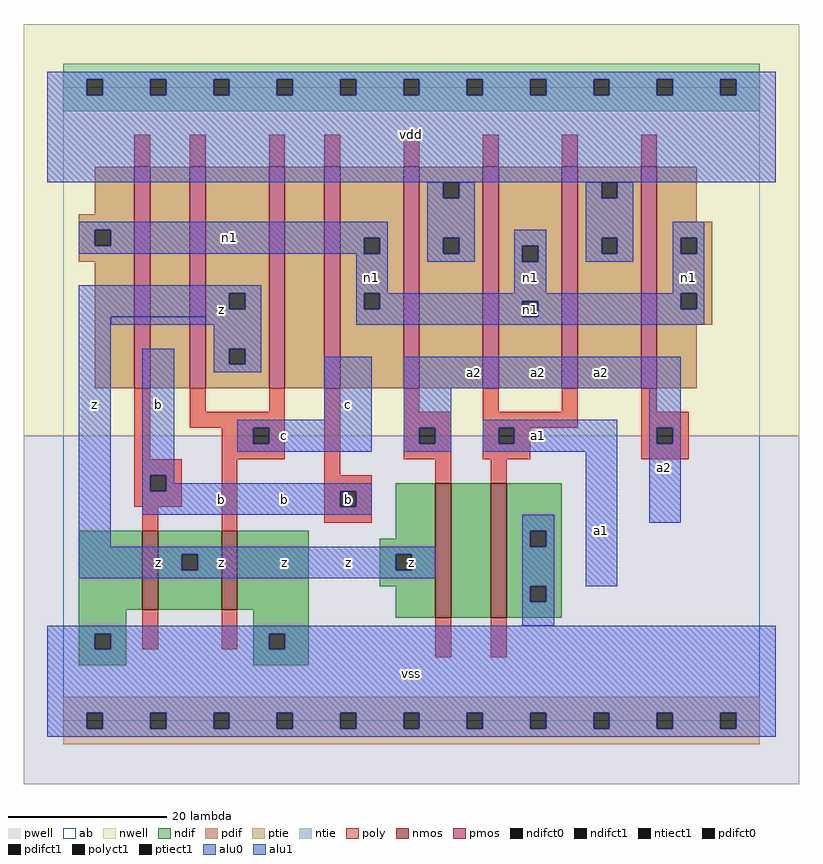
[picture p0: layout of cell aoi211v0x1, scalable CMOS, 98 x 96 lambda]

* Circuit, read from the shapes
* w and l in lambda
.subckt aoi211v0x1 a1 a2 b c n1 vdd vss z
M1 z b vss vss nfet w=10 l=2
M2 vss c z vss nfet w=10 l=2
M3 n2 a2 z vss nfet w=17 l=2
M4 vss a1 n2 vss nfet w=17 l=2
M5 n3 b n1 vdd pfet w=28 l=2
M6 z c n3 vdd pfet w=28 l=2
M7 n4 c z vdd pfet w=28 l=2
M8 n1 b n4 vdd pfet w=28 l=2
M9 vdd a2 n1 vdd pfet w=28 l=2 m=2
M10 n1 a1 vdd vdd pfet w=28 l=2 m=2
.ends

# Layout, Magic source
magic
tech scmos
<< ab >>
rect 0 0 88 80
<< nwell >>
rect -5 36 93 88
<< pwell >>
rect -5 -8 93 36
<< poly >>
rect 9 70 11 74
rect 16 70 18 74
rect 26 70 28 74
rect 33 70 35 74
rect 43 70 45 74
rect 53 70 55 74
rect 63 70 65 74
rect 73 70 75 74
rect 9 33 11 42
rect 16 39 18 42
rect 26 39 28 42
rect 16 37 28 39
rect 20 35 24 37
rect 26 35 28 37
rect 20 33 28 35
rect 9 31 15 33
rect 9 29 11 31
rect 13 29 15 31
rect 9 27 15 29
rect 10 24 12 27
rect 20 24 22 33
rect 33 31 35 42
rect 43 39 45 42
rect 53 39 55 42
rect 63 39 65 42
rect 43 37 49 39
rect 43 35 45 37
rect 47 35 49 37
rect 43 33 49 35
rect 53 37 65 39
rect 73 39 75 42
rect 73 37 79 39
rect 53 35 55 37
rect 57 35 59 37
rect 53 33 59 35
rect 73 35 75 37
rect 77 35 79 37
rect 73 33 79 35
rect 33 29 39 31
rect 47 30 49 33
rect 54 30 56 33
rect 33 27 35 29
rect 37 27 39 29
rect 33 25 39 27
rect 10 9 12 14
rect 20 9 22 14
rect 47 8 49 13
rect 54 8 56 13
<< ndif >>
rect 2 14 10 24
rect 12 21 20 24
rect 12 19 15 21
rect 17 19 20 21
rect 12 14 20 19
rect 22 14 31 24
rect 42 23 47 30
rect 40 21 47 23
rect 40 19 42 21
rect 44 19 47 21
rect 40 17 47 19
rect 2 11 8 14
rect 2 9 4 11
rect 6 9 8 11
rect 24 11 31 14
rect 42 13 47 17
rect 49 13 54 30
rect 56 24 63 30
rect 56 22 59 24
rect 61 22 63 24
rect 56 17 63 22
rect 56 15 59 17
rect 61 15 63 17
rect 56 13 63 15
rect 24 9 26 11
rect 28 9 31 11
rect 2 7 8 9
rect 24 7 31 9
<< pdif >>
rect 4 64 9 70
rect 2 62 9 64
rect 2 60 4 62
rect 6 60 9 62
rect 2 58 9 60
rect 4 42 9 58
rect 11 42 16 70
rect 18 54 26 70
rect 18 52 21 54
rect 23 52 26 54
rect 18 47 26 52
rect 18 45 21 47
rect 23 45 26 47
rect 18 42 26 45
rect 28 42 33 70
rect 35 61 43 70
rect 35 59 38 61
rect 40 59 43 61
rect 35 54 43 59
rect 35 52 38 54
rect 40 52 43 54
rect 35 42 43 52
rect 45 68 53 70
rect 45 66 48 68
rect 50 66 53 68
rect 45 61 53 66
rect 45 59 48 61
rect 50 59 53 61
rect 45 42 53 59
rect 55 60 63 70
rect 55 58 58 60
rect 60 58 63 60
rect 55 53 63 58
rect 55 51 58 53
rect 60 51 63 53
rect 55 42 63 51
rect 65 68 73 70
rect 65 66 68 68
rect 70 66 73 68
rect 65 61 73 66
rect 65 59 68 61
rect 70 59 73 61
rect 65 42 73 59
rect 75 63 80 70
rect 75 61 82 63
rect 75 59 78 61
rect 80 59 82 61
rect 75 54 82 59
rect 75 52 78 54
rect 80 52 82 54
rect 75 50 82 52
rect 75 42 80 50
<< alu1 >>
rect -2 81 90 82
rect -2 79 3 81
rect 5 79 11 81
rect 13 79 19 81
rect 21 79 27 81
rect 29 79 35 81
rect 37 79 43 81
rect 45 79 51 81
rect 53 79 59 81
rect 61 79 67 81
rect 69 79 75 81
rect 77 79 83 81
rect 85 79 90 81
rect -2 68 90 79
rect 2 54 25 55
rect 2 52 21 54
rect 23 52 25 54
rect 2 51 25 52
rect 2 22 6 51
rect 18 50 25 51
rect 19 47 25 50
rect 10 31 14 47
rect 19 45 21 47
rect 23 45 25 47
rect 19 44 25 45
rect 33 38 39 46
rect 22 37 39 38
rect 22 35 24 37
rect 26 35 39 37
rect 22 34 39 35
rect 43 42 78 46
rect 43 37 49 42
rect 43 35 45 37
rect 47 35 49 37
rect 43 34 49 35
rect 53 37 70 38
rect 53 35 55 37
rect 57 35 70 37
rect 53 34 70 35
rect 10 29 11 31
rect 13 30 14 31
rect 13 29 39 30
rect 10 27 35 29
rect 37 27 39 29
rect 10 26 39 27
rect 2 21 47 22
rect 2 19 15 21
rect 17 19 42 21
rect 44 19 47 21
rect 2 18 47 19
rect 66 17 70 34
rect 74 37 78 42
rect 74 35 75 37
rect 77 35 78 37
rect 74 25 78 35
rect -2 11 90 12
rect -2 9 4 11
rect 6 9 26 11
rect 28 9 90 11
rect -2 1 90 9
rect -2 -1 3 1
rect 5 -1 11 1
rect 13 -1 19 1
rect 21 -1 27 1
rect 29 -1 35 1
rect 37 -1 43 1
rect 45 -1 51 1
rect 53 -1 59 1
rect 61 -1 67 1
rect 69 -1 75 1
rect 77 -1 83 1
rect 85 -1 90 1
rect -2 -2 90 -1
<< ptie >>
rect 0 1 88 3
rect 0 -1 3 1
rect 5 -1 11 1
rect 13 -1 19 1
rect 21 -1 27 1
rect 29 -1 35 1
rect 37 -1 43 1
rect 45 -1 51 1
rect 53 -1 59 1
rect 61 -1 67 1
rect 69 -1 75 1
rect 77 -1 83 1
rect 85 -1 88 1
rect 0 -3 88 -1
<< ntie >>
rect 0 81 88 83
rect 0 79 3 81
rect 5 79 11 81
rect 13 79 19 81
rect 21 79 27 81
rect 29 79 35 81
rect 37 79 43 81
rect 45 79 51 81
rect 53 79 59 81
rect 61 79 67 81
rect 69 79 75 81
rect 77 79 83 81
rect 85 79 88 81
rect 0 77 88 79
<< nmos >>
rect 10 14 12 24
rect 20 14 22 24
rect 47 13 49 30
rect 54 13 56 30
<< pmos >>
rect 9 42 11 70
rect 16 42 18 70
rect 26 42 28 70
rect 33 42 35 70
rect 43 42 45 70
rect 53 42 55 70
rect 63 42 65 70
rect 73 42 75 70
<< polyct1 >>
rect 24 35 26 37
rect 11 29 13 31
rect 45 35 47 37
rect 55 35 57 37
rect 75 35 77 37
rect 35 27 37 29
<< ndifct0 >>
rect 59 22 61 24
rect 59 15 61 17
<< ndifct1 >>
rect 15 19 17 21
rect 42 19 44 21
rect 4 9 6 11
rect 26 9 28 11
<< ntiect1 >>
rect 3 79 5 81
rect 11 79 13 81
rect 19 79 21 81
rect 27 79 29 81
rect 35 79 37 81
rect 43 79 45 81
rect 51 79 53 81
rect 59 79 61 81
rect 67 79 69 81
rect 75 79 77 81
rect 83 79 85 81
<< ptiect1 >>
rect 3 -1 5 1
rect 11 -1 13 1
rect 19 -1 21 1
rect 27 -1 29 1
rect 35 -1 37 1
rect 43 -1 45 1
rect 51 -1 53 1
rect 59 -1 61 1
rect 67 -1 69 1
rect 75 -1 77 1
rect 83 -1 85 1
<< pdifct0 >>
rect 4 60 6 62
rect 38 59 40 61
rect 38 52 40 54
rect 48 66 50 68
rect 48 59 50 61
rect 58 58 60 60
rect 58 51 60 53
rect 68 66 70 68
rect 68 59 70 61
rect 78 59 80 61
rect 78 52 80 54
<< pdifct1 >>
rect 21 52 23 54
rect 21 45 23 47
<< alu0 >>
rect 46 66 48 68
rect 50 66 52 68
rect 2 62 41 63
rect 2 60 4 62
rect 6 61 41 62
rect 6 60 38 61
rect 2 59 38 60
rect 40 59 41 61
rect 6 50 18 51
rect 37 54 41 59
rect 46 61 52 66
rect 66 66 68 68
rect 70 66 72 68
rect 46 59 48 61
rect 50 59 52 61
rect 46 58 52 59
rect 57 60 61 62
rect 57 58 58 60
rect 60 58 61 60
rect 66 61 72 66
rect 66 59 68 61
rect 70 59 72 61
rect 66 58 72 59
rect 77 61 81 63
rect 77 59 78 61
rect 80 59 81 61
rect 57 54 61 58
rect 77 54 81 59
rect 37 52 38 54
rect 40 53 78 54
rect 40 52 58 53
rect 37 51 58 52
rect 60 52 78 53
rect 80 52 81 54
rect 60 51 81 52
rect 37 50 81 51
rect 58 24 62 26
rect 58 22 59 24
rect 61 22 62 24
rect 58 17 62 22
rect 58 15 59 17
rect 61 15 62 17
rect 58 12 62 15
<< labels >>
rlabel alu0 39 56 39 56 6 n1
rlabel alu0 21 61 21 61 6 n1
rlabel alu0 59 56 59 56 6 n1
rlabel pdifct0 59 52 59 52 6 n1
rlabel alu0 79 56 79 56 6 n1
rlabel alu1 12 20 12 20 6 z
rlabel alu1 12 40 12 40 6 b
rlabel alu1 4 40 4 40 6 z
rlabel alu1 28 20 28 20 6 z
rlabel alu1 36 20 36 20 6 z
rlabel alu1 20 20 20 20 6 z
rlabel alu1 20 28 20 28 6 b
rlabel polyct1 36 28 36 28 6 b
rlabel alu1 28 36 28 36 6 c
rlabel alu1 28 28 28 28 6 b
rlabel alu1 36 40 36 40 6 c
rlabel alu1 20 52 20 52 6 z
rlabel alu1 44 6 44 6 6 vss
rlabel alu1 44 20 44 20 6 z
rlabel alu1 60 36 60 36 6 a1
rlabel alu1 52 44 52 44 6 a2
rlabel alu1 60 44 60 44 6 a2
rlabel alu1 44 74 44 74 6 vdd
rlabel alu1 68 24 68 24 6 a1
rlabel alu1 76 32 76 32 6 a2
rlabel alu1 68 44 68 44 6 a2
<< end >>
